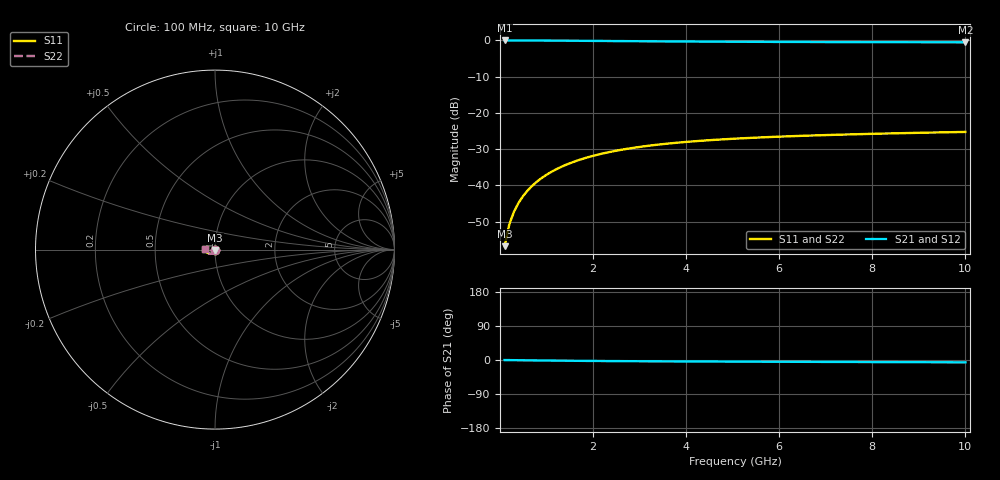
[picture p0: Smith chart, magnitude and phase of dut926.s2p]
! Touchstone file exported from HFSS 2024.1.0
!  File:  C:/UserFiles/LocalFiles/RDL_TSV_Batchsim/temp_TSV1_926_1779946614.aedt
!  Generated:  01:43:15 PM May 28, 2026
!  Design:  TSV1
!  Project:  temp_TSV1_926_1779946614
!  Setup:  Setup1
!  Solution:  Sweep
! Variables:
!  dtsv = 9.86um
!  hbump = 3um
!  htsv = 98.03um
!  lrdl = 252.1521522um
!  p = 40
!  p1 = 50.04um
!  t = 500um
!  trdl = 3um
!  wrdl = 24.89489489um
# GHz S MA R 50.000000
! Terminal data exported
! Port[1] = TSV22_T1
! Port[2] = TSV22_T2
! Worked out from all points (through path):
!   100 points, 100 MHz to 10 GHz, reference 50 ohm
!   highest |S21| = 0.00 dB at 100 MHz (marker M1); lowest = -0.5 dB at 10 GHz (marker M2)
!   lowest |S11| = -56.8 dB at 100 MHz (marker M3), VSWR 1.00, Z = 50 - j0.144 ohm
!   |S11| at or under -10 dB: start of sweep to end of sweep
!   |S22| runs from -56.8 to -25.3 dB; largest |S21 - S12| = 2e-15
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0.1  0.001448 -85.0  0.9998 -0.1  0.9998 -0.1  0.001448 -85.0
! Gamma 0 0 0 0
! Port Impedance 50 0 50 0
0.2  0.002881 -90.0  0.9996 -0.3  0.9996 -0.3  0.002881 -90.0
0.3  0.004316 -92.9  0.9994 -0.4  0.9994 -0.4  0.004316 -92.9
0.4  0.005746 -95.2  0.9991 -0.6  0.9991 -0.6  0.005746 -95.2
0.5  0.007167 -97.3  0.9986 -0.7  0.9986 -0.7  0.007167 -97.3
0.6  0.008574 -99.3  0.9982 -0.9  0.9982 -0.9  0.008574 -99.3
0.7  0.009964 -101.2  0.9976 -1.0  0.9976 -1.0  0.009964 -101.2
0.8  0.01133 -103.1  0.997 -1.1  0.997 -1.1  0.01133 -103.1
0.9  0.01268 -104.9  0.9963 -1.3  0.9963 -1.3  0.01268 -104.9
1.1  0.01529 -108.4  0.9947 -1.5  0.9947 -1.5  0.01529 -108.4
1.4  0.019 -113.5  0.992 -1.9  0.992 -1.9  0.019 -113.5
1.6  0.02131 -116.7  0.99 -2.1  0.99 -2.1  0.02131 -116.7
1.8  0.02349 -119.8  0.988 -2.3  0.988 -2.3  0.02349 -119.8
2.1  0.02651 -124.2  0.9848 -2.6  0.9848 -2.6  0.02651 -124.2
2.5  0.03009 -129.6  0.9806 -2.9  0.9806 -2.9  0.03009 -129.6
2.9  0.0332 -134.6  0.9765 -3.2  0.9765 -3.2  0.0332 -134.6
3.4  0.0365 -140.2  0.9718 -3.5  0.9718 -3.5  0.0365 -140.2
4.2  0.0407 -148.0  0.9652 -3.9  0.9652 -3.9  0.0407 -148.0
5.1  0.04427 -155.5  0.9593 -4.3  0.9593 -4.3  0.04427 -155.5
6.7  0.04876 -166.2  0.9518 -4.9  0.9518 -4.9  0.04876 -166.2
8.4  0.05213 -175.3  0.9465 -5.5  0.9465 -5.5  0.05213 -175.3
10  0.05464 177.6  0.9431 -6.2  0.9431 -6.2  0.05464 177.5
